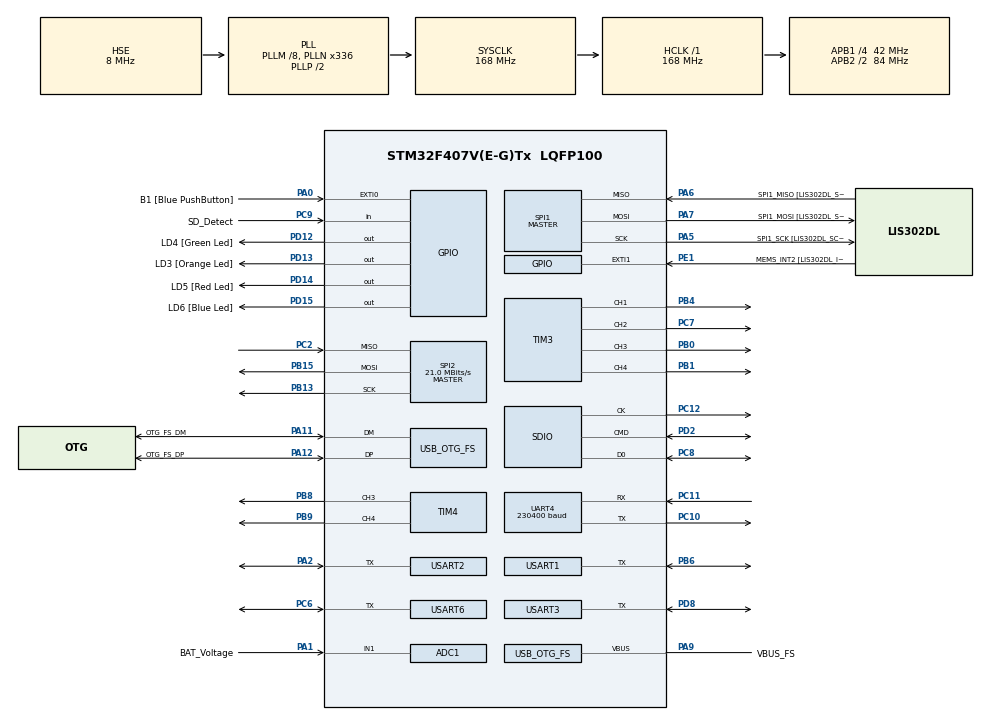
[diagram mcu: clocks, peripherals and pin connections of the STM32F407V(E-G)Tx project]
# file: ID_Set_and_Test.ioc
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ADC1.Channel-2\#ChannelRegularConversion=ADC_CHANNEL_1
ADC1.EOCSelection=ADC_EOC_SEQ_CONV
ADC1.EnableAnalogWatchDog=false
ADC1.NbrOfConversion=1
ADC1.NbrOfConversionFlag=1
ADC1.Rank-2\#ChannelRegularConversion=1
ADC1.SamplingTime-2\#ChannelRegularConversion=ADC_SAMPLETIME_15CYCLES
ADC1.ScanConvMode=DISABLE
ADC1.master=1
Dma.ADC1.0.Direction=DMA_PERIPH_TO_MEMORY
Dma.ADC1.0.FIFOMode=DMA_FIFOMODE_DISABLE
Dma.ADC1.0.Instance=DMA2_Stream0
Dma.ADC1.0.MemDataAlignment=DMA_MDATAALIGN_WORD
Dma.ADC1.0.MemInc=DMA_MINC_ENABLE
Dma.ADC1.0.Mode=DMA_NORMAL
Dma.ADC1.0.PeriphDataAlignment=DMA_PDATAALIGN_WORD
Dma.ADC1.0.PeriphInc=DMA_PINC_DISABLE
Dma.ADC1.0.Priority=DMA_PRIORITY_LOW
Dma.Request0=ADC1
Dma.Request1=USART1_TX
Dma.Request2=USART2_TX
Dma.Request3=USART3_TX
Dma.Request4=USART6_TX
Dma.USART1_TX.1.Direction=DMA_MEMORY_TO_PERIPH
Dma.USART1_TX.1.FIFOMode=DMA_FIFOMODE_DISABLE
Dma.USART1_TX.1.Instance=DMA2_Stream7
Dma.USART1_TX.1.MemDataAlignment=DMA_MDATAALIGN_BYTE
Dma.USART1_TX.1.MemInc=DMA_MINC_ENABLE
Dma.USART1_TX.1.Mode=DMA_NORMAL
Dma.USART1_TX.1.PeriphDataAlignment=DMA_PDATAALIGN_BYTE
Dma.USART1_TX.1.PeriphInc=DMA_PINC_DISABLE
Dma.USART1_TX.1.Priority=DMA_PRIORITY_LOW
Dma.USART2_TX.2.Direction=DMA_MEMORY_TO_PERIPH
Dma.USART2_TX.2.FIFOMode=DMA_FIFOMODE_DISABLE
Dma.USART2_TX.2.Instance=DMA1_Stream6
Dma.USART2_TX.2.MemDataAlignment=DMA_MDATAALIGN_BYTE
Dma.USART2_TX.2.MemInc=DMA_MINC_ENABLE
Dma.USART2_TX.2.Mode=DMA_NORMAL
Dma.USART2_TX.2.PeriphDataAlignment=DMA_PDATAALIGN_BYTE
Dma.USART2_TX.2.PeriphInc=DMA_PINC_DISABLE
Dma.USART2_TX.2.Priority=DMA_PRIORITY_LOW
Dma.USART3_TX.3.Direction=DMA_MEMORY_TO_PERIPH
Dma.USART3_TX.3.FIFOMode=DMA_FIFOMODE_DISABLE
Dma.USART3_TX.3.Instance=DMA1_Stream3
Dma.USART3_TX.3.MemDataAlignment=DMA_MDATAALIGN_BYTE
Dma.USART3_TX.3.MemInc=DMA_MINC_ENABLE
Dma.USART3_TX.3.Mode=DMA_NORMAL
Dma.USART3_TX.3.PeriphDataAlignment=DMA_PDATAALIGN_BYTE
Dma.USART3_TX.3.PeriphInc=DMA_PINC_DISABLE
Dma.USART3_TX.3.Priority=DMA_PRIORITY_LOW
Dma.USART6_TX.4.Direction=DMA_MEMORY_TO_PERIPH
Dma.USART6_TX.4.FIFOMode=DMA_FIFOMODE_DISABLE
Dma.USART6_TX.4.Instance=DMA2_Stream6
Dma.USART6_TX.4.MemDataAlignment=DMA_MDATAALIGN_BYTE
Dma.USART6_TX.4.MemInc=DMA_MINC_ENABLE
Dma.USART6_TX.4.Mode=DMA_NORMAL
Dma.USART6_TX.4.PeriphDataAlignment=DMA_PDATAALIGN_BYTE
Dma.USART6_TX.4.PeriphInc=DMA_PINC_DISABLE
Dma.USART6_TX.4.Priority=DMA_PRIORITY_LOW
Mcu.Family=STM32F4
Mcu.Name=STM32F407V(E-G)Tx
Mcu.Package=LQFP100
NVIC.DMA1_Stream3_IRQn=true\:0\:0\:false\:false\:true\:false\:true\:true
NVIC.DMA1_Stream6_IRQn=true\:0\:0\:false\:false\:true\:false\:true\:true
NVIC.DMA2_Stream0_IRQn=true\:0\:0\:false\:false\:true\:false\:true\:true
NVIC.DMA2_Stream6_IRQn=true\:0\:0\:false\:false\:true\:false\:true\:true
NVIC.DMA2_Stream7_IRQn=true\:0\:0\:false\:false\:true\:false\:true\:true
NVIC.OTG_FS_IRQn=true\:0\:0\:false\:false\:true\:true\:true\:true
NVIC.PriorityGroup=NVIC_PRIORITYGROUP_4
NVIC.UART4_IRQn=true\:0\:0\:false\:false\:true\:true\:true\:true
NVIC.USART1_IRQn=true\:0\:0\:false\:false\:true\:true\:true\:true
NVIC.USART2_IRQn=true\:0\:0\:false\:false\:true\:true\:true\:true
NVIC.USART3_IRQn=true\:0\:0\:false\:false\:true\:true\:true\:true
NVIC.USART6_IRQn=true\:0\:0\:false\:false\:true\:true\:true\:true
PA0-WKUP.GPIO_Label=B1 [Blue PushButton]
PA0-WKUP.GPIO_ModeDefaultEXTI=GPIO_MODE_EVT_RISING
PA0-WKUP.GPIO_PuPd=GPIO_NOPULL
PA0-WKUP.Signal=GPXTI0
PA1.GPIO_Label=BAT_Voltage
PA1.Signal=SharedAnalog_PA1
PA10.GPIO_Label=OTG_FS_ID
PA10.GPIO_Mode=GPIO_MODE_AF_PP
PA10.GPIO_PuPd=GPIO_NOPULL
PA10.GPIO_Speed=GPIO_SPEED_FREQ_LOW
PA10.Signal=USB_OTG_FS_ID
PA11.GPIO_Label=OTG_FS_DM
PA11.GPIO_Mode=GPIO_MODE_AF_PP
PA11.GPIO_PuPd=GPIO_NOPULL
PA11.GPIO_Speed=GPIO_SPEED_FREQ_LOW
PA11.Mode=Device_Only
PA11.Signal=USB_OTG_FS_DM
PA12.GPIO_Label=OTG_FS_DP
PA12.GPIO_Mode=GPIO_MODE_AF_PP
PA12.GPIO_PuPd=GPIO_NOPULL
PA12.GPIO_Speed=GPIO_SPEED_FREQ_LOW
PA12.Mode=Device_Only
PA12.Signal=USB_OTG_FS_DP
PA13.GPIO_Label=SWDIO
PA13.Mode=Serial_Wire
PA13.Signal=SYS_JTMS-SWDIO
PA14.GPIO_Label=SWCLK
PA14.Mode=Serial_Wire
PA14.Signal=SYS_JTCK-SWCLK
PA2.GPIO_PuPd=GPIO_PULLUP
PA2.Mode=Half_duplex(single_wire_mode)
PA2.Signal=USART2_TX
PA5.GPIO_Label=SPI1_SCK [LIS302DL_SCL/SPC]
PA5.GPIO_Mode=GPIO_MODE_AF_PP
PA5.GPIO_PuPd=GPIO_NOPULL
PA5.GPIO_Speed=GPIO_SPEED_FREQ_LOW
PA5.Mode=Full_Duplex_Master
PA5.Signal=SPI1_SCK
PA6.GPIO_Label=SPI1_MISO [LIS302DL_SDO]
PA6.GPIO_Mode=GPIO_MODE_AF_PP
PA6.GPIO_PuPd=GPIO_NOPULL
PA6.GPIO_Speed=GPIO_SPEED_FREQ_LOW
PA6.Mode=Full_Duplex_Master
PA6.Signal=SPI1_MISO
PA7.GPIO_Label=SPI1_MOSI [LIS302DL_SDA/SDI/SDO]
PA7.GPIO_Mode=GPIO_MODE_AF_PP
PA7.GPIO_PuPd=GPIO_NOPULL
PA7.GPIO_Speed=GPIO_SPEED_FREQ_LOW
PA7.Mode=Full_Duplex_Master
PA7.Signal=SPI1_MOSI
PA9.GPIO_Label=VBUS_FS
PA9.GPIO_Mode=GPIO_MODE_INPUT
PA9.GPIO_PuPd=GPIO_NOPULL
PA9.Mode=Activate_VBUS
PA9.Signal=USB_OTG_FS_VBUS
PB0.Signal=S_TIM3_CH3
PB1.Signal=S_TIM3_CH4
PB10.GPIO_Label=CLK_IN [MP45DT02_CLK]
PB10.GPIO_Mode=GPIO_MODE_AF_PP
PB10.GPIO_PuPd=GPIO_NOPULL
PB10.GPIO_Speed=GPIO_SPEED_FREQ_LOW
PB10.Signal=I2S2_CK
PB13.Mode=Full_Duplex_Master
PB13.Signal=SPI2_SCK
PB15.Mode=Full_Duplex_Master
PB15.Signal=SPI2_MOSI
PB3.GPIO_Label=SWO
PB3.Signal=SYS_JTDO-SWO
PB4.Signal=S_TIM3_CH1
PB6.GPIO_PuPd=GPIO_PULLUP
PB6.Mode=Half_duplex(single_wire_mode)
PB6.Signal=USART1_TX
PB8.Signal=S_TIM4_CH3
PB9.Signal=S_TIM4_CH4
PC10.Mode=Asynchronous
PC10.Signal=UART4_TX
PC11.Mode=Asynchronous
PC11.Signal=UART4_RX
PC12.Mode=SD_1_bit
PC12.Signal=SDIO_CK
PC14-OSC32_IN.GPIO_Label=PC14-OSC32_IN
PC14-OSC32_IN.Mode=LSE-External-Oscillator
PC14-OSC32_IN.Signal=RCC_OSC32_IN
PC15-OSC32_OUT.GPIO_Label=PC15-OSC32_OUT
PC15-OSC32_OUT.Mode=LSE-External-Oscillator
PC15-OSC32_OUT.Signal=RCC_OSC32_OUT
PC2.Mode=Full_Duplex_Master
PC2.Signal=SPI2_MISO
PC3.GPIO_Label=PDM_OUT [MP45DT02_DOUT]
PC3.GPIO_Mode=GPIO_MODE_AF_PP
PC3.GPIO_PuPd=GPIO_NOPULL
PC3.GPIO_Speed=GPIO_SPEED_FREQ_LOW
PC3.Signal=I2S2_SD
PC6.GPIO_PuPd=GPIO_PULLUP
PC6.Mode=Half_duplex(single_wire_mode)
PC6.Signal=USART6_TX
PC7.Signal=S_TIM3_CH2
PC8.Mode=SD_1_bit
PC8.Signal=SDIO_D0
PC9.GPIO_Label=SD_Detect
PC9.GPIO_PuPd=GPIO_PULLDOWN
PC9.Signal=GPIO_Input
PD12.GPIO_Label=LD4 [Green Led]
PD12.GPIO_PuPd=GPIO_NOPULL
PD12.GPIO_Speed=GPIO_SPEED_FREQ_LOW
PD12.Signal=GPIO_Output
PD13.GPIO_Label=LD3 [Orange Led]
PD13.Signal=GPIO_Output
PD14.GPIO_Label=LD5 [Red Led]
PD14.GPIO_PuPd=GPIO_NOPULL
PD14.GPIO_Speed=GPIO_SPEED_FREQ_LOW
PD14.Signal=GPIO_Output
PD15.GPIO_Label=LD6 [Blue Led]
PD15.GPIO_PuPd=GPIO_NOPULL
PD15.GPIO_Speed=GPIO_SPEED_FREQ_LOW
PD15.Signal=GPIO_Output
PD2.Mode=SD_1_bit
PD2.Signal=SDIO_CMD
PD8.GPIO_PuPd=GPIO_PULLUP
PD8.Mode=Half_duplex(single_wire_mode)
PD8.Signal=USART3_TX
PE1.GPIO_Label=MEMS_INT2 [LIS302DL_INT2]
PE1.GPIO_ModeDefaultEXTI=GPIO_MODE_EVT_RISING
PE1.GPIO_PuPd=GPIO_NOPULL
PE1.Signal=GPXTI1
PH0-OSC_IN.GPIO_Label=PH0-OSC_IN
PH0-OSC_IN.Mode=HSE-External-Oscillator
PH0-OSC_IN.Signal=RCC_OSC_IN
PH1-OSC_OUT.GPIO_Label=PH1-OSC_OUT
PH1-OSC_OUT.Mode=HSE-External-Oscillator
PH1-OSC_OUT.Signal=RCC_OSC_OUT
ProjectManager.HeapSize=0x200
ProjectManager.StackSize=0x400
ProjectManager.TargetToolchain=STM32CubeIDE
RCC.48MHZClocksFreq_Value=48000000
RCC.AHBFreq_Value=168000000
RCC.APB1CLKDivider=RCC_HCLK_DIV4
RCC.APB1Freq_Value=42000000
RCC.APB1TimFreq_Value=84000000
RCC.APB2CLKDivider=RCC_HCLK_DIV2
RCC.APB2Freq_Value=84000000
RCC.APB2TimFreq_Value=168000000
RCC.CortexFreq_Value=168000000
RCC.HCLKFreq_Value=168000000
RCC.HSE_VALUE=8000000
RCC.HSI_VALUE=16000000
RCC.PLLM=8
RCC.PLLN=336
RCC.PLLQ=7
RCC.SYSCLKFreq_VALUE=168000000
RCC.SYSCLKSource=RCC_SYSCLKSOURCE_PLLCLK
RCC.VCOOutputFreq_Value=336000000
SH.S_TIM3_CH1.0=TIM3_CH1,PWM Generation1 CH1
SH.S_TIM3_CH2.0=TIM3_CH2,PWM Generation2 CH2
SH.S_TIM3_CH3.0=TIM3_CH3,PWM Generation3 CH3
SH.S_TIM3_CH4.0=TIM3_CH4,PWM Generation4 CH4
SH.S_TIM4_CH3.0=TIM4_CH3,PWM Generation3 CH3
SH.S_TIM4_CH4.0=TIM4_CH4,PWM Generation4 CH4
SH.SharedAnalog_PA1.0=GPIO_Analog
SH.SharedAnalog_PA1.1=ADC1_IN1,IN1
SPI1.BaudRatePrescaler-Full_Duplex_Master=SPI_BAUDRATEPRESCALER_2
SPI1.CalculateBaudRate-Full_Duplex_Master=42.0 MBits/s
SPI1.Direction=SPI_DIRECTION_2LINES
SPI1.Mode=SPI_MODE_MASTER
SPI1.Mode-Full_Duplex_Master=SPI_MODE_MASTER
SPI1.VirtualType=VM_MASTER
SPI2.CalculateBaudRate=21.0 MBits/s
SPI2.Direction=SPI_DIRECTION_2LINES
SPI2.Mode=SPI_MODE_MASTER
SPI2.VirtualType=VM_MASTER
TIM3.Channel-PWM\ Generation1\ CH1=TIM_CHANNEL_1
TIM3.Channel-PWM\ Generation2\ CH2=TIM_CHANNEL_2
TIM3.Channel-PWM\ Generation3\ CH3=TIM_CHANNEL_3
TIM3.Channel-PWM\ Generation4\ CH4=TIM_CHANNEL_4
TIM4.Channel-PWM\ Generation3\ CH3=TIM_CHANNEL_3
TIM4.Channel-PWM\ Generation4\ CH4=TIM_CHANNEL_4
UART4.BaudRate=230400
UART4.VirtualMode=Asynchronous
USART1.BaudRate=115200
USART1.Parity=PARITY_EVEN
USART1.VirtualMode=VM_ASYNC
USART2.BaudRate=1000000
USART2.VirtualMode=VM_ASYNC
USART3.BaudRate=1000000
USART3.VirtualMode=VM_ASYNC
USART6.BaudRate=1000000
USART6.VirtualMode=VM_ASYNC
USB_DEVICE.CLASS_NAME_FS=CDC
USB_DEVICE.VirtualMode-CDC_FS=Cdc
USB_DEVICE.VirtualModeFS=Cdc_FS
USB_OTG_FS.VirtualMode=Device_Only
VP_ADC1_TempSens_Input.Mode=IN-TempSens
VP_ADC1_Vref_Input.Mode=IN-Vrefint
VP_USB_DEVICE_VS_USB_DEVICE_CDC_FS.Mode=CDC_FS
board=STM32F407G-DISC1

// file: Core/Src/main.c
/* USER CODE BEGIN Header */
/**
  ******************************************************************************
  * @file           : main.c
  * @brief          : Main program body
  ******************************************************************************
  * @attention
  *
  * Copyright (c) 2022 STMicroelectronics.
  * All rights reserved.
  *
  * This software is licensed under terms that can be found in the LICENSE file
  * in the root directory of this software component.
  * If no LICENSE file comes with this software, it is provided AS-IS.
  *
  ******************************************************************************
  */
/* USER CODE END Header */
#include "main.h"
#include "usb_device.h"

 ADC_HandleTypeDef hadc1;
DMA_HandleTypeDef hdma_adc1;

SD_HandleTypeDef hsd;

SPI_HandleTypeDef hspi1;
SPI_HandleTypeDef hspi2;

TIM_HandleTypeDef htim3;
TIM_HandleTypeDef htim4;

UART_HandleTypeDef huart4;
UART_HandleTypeDef huart1;
UART_HandleTypeDef huart2;
UART_HandleTypeDef huart3;
UART_HandleTypeDef huart6;
DMA_HandleTypeDef hdma_usart1_tx;
DMA_HandleTypeDef hdma_usart2_tx;
DMA_HandleTypeDef hdma_usart3_tx;
DMA_HandleTypeDef hdma_usart6_tx;

void SystemClock_Config(void);
static void MX_GPIO_Init(void);
static void MX_SPI1_Init(void);
static void MX_SDIO_SD_Init(void);
static void MX_DMA_Init(void);
static void MX_SPI2_Init(void);
static void MX_TIM3_Init(void);
static void MX_TIM4_Init(void);
static void MX_USART1_UART_Init(void);
static void MX_USART2_UART_Init(void);
static void MX_USART3_UART_Init(void);
static void MX_USART6_UART_Init(void);
static void MX_ADC1_Init(void);
static void MX_UART4_Init(void);

/* USER CODE BEGIN 0 */
	uint8_t uartBuf[64];
	uint8_t paramArray[2];  // contem os parametros de setar id
	uint8_t paramArray2[5];  // parametros da primeira posiçao
	uint8_t paramArray3[5];  // parametros da segunda posiçao
	uint8_t motorId = 0xFE;  // ID de broadcast
	uint8_t novoId = 0x00;	 //novo ID (se mudar tem q mudar o uartbuf2 do sendInstruction)
	uint8_t paramArray[2];  // array com os parametros de set id
	uint16_t pos1 = 1000;
	uint16_t pos2 = 500;
	uint16_t spd = 500;

  void sendInstruction(uint8_t instruction, uint8_t* paramArray, uint8_t numParams){
	  //while(huartptr->gState != HAL_UART_STATE_READY);	//Tem que implementar timeout
	  uartBuf[0] = 0xFF;				//Header
	  uartBuf[1] = 0xFF;				//Header
	  uartBuf[2] = motorId;				//ID
	  uartBuf[3] = numParams + 2;		//Length
	  uartBuf[4] = instruction;			//Instruction
	  uint8_t i;
	  uint8_t somaParams = 0;
	  for(i=0; i<numParams; i++){
		  uartBuf[i+5] = paramArray[i];	//Parameters
		  somaParams += paramArray[i];
	  }
	  uartBuf[i+5] = ~(motorId + numParams + 2 + instruction + somaParams);	//Checksum
	  HAL_UART_Transmit(&huart1, (uint8_t *)uartBuf, numParams + 6, 100);  //tem q ficar mudando a porta aqui
}

/* USER CODE END 0 */

int main(void)
{

  /* MCU Configuration--------------------------------------------------------*/

  /* Reset of all peripherals, Initializes the Flash interface and the Systick. */
  HAL_Init();

  /* USER CODE BEGIN Init */
  HAL_HalfDuplex_EnableTransmitter(&huart1);  // ativa o modo transmissor

  paramArray[0] = 0x03; 		//Starting adress da instruçao de ID
  paramArray[1] = novoId; 	//novo ID (se mudar tem q mudar o uartbuf2 do sendInstruction)

  paramArray2[0] = 30;			//Goal position
  paramArray2[1] = pos1;			//Conferir endianess
  paramArray2[2] = pos1>>8;
  paramArray2[3] = spd;
  paramArray2[4] = spd>>8;

  paramArray3[0] = 30;			//Goal position
  paramArray3[1] = pos2;		//Conferir endianess
  paramArray3[2] = pos2>>8;
  paramArray3[3] = spd;
  paramArray3[4] = spd>>8;
  while(1){
  sendInstruction(0x03, paramArray2, 5);
  	  HAL_Delay(2000);
  	  sendInstruction(0x03, paramArray3, 5);
  	  HAL_Delay(2000);
  }
  /* USER CODE END Init */

  /* Configure the system clock */
  SystemClock_Config();

  /* Initialize all configured peripherals */
  MX_GPIO_Init();
  MX_SPI1_Init();
  MX_USB_DEVICE_Init();
  MX_SDIO_SD_Init();
  MX_DMA_Init();
  MX_SPI2_Init();
  MX_TIM3_Init();
  MX_TIM4_Init();
  MX_USART1_UART_Init();
  MX_USART2_UART_Init();
  MX_USART3_UART_Init();
  MX_USART6_UART_Init();
  MX_ADC1_Init();
  MX_UART4_Init();
  /* USER CODE BEGIN 2 */
  sendInstruction(0x03, paramArray, 2);  // set ID
  /* USER CODE END 2 */

  /* Infinite loop */
  while (1)
  {

  }
}

void SystemClock_Config(void)
{
  RCC_OscInitTypeDef RCC_OscInitStruct = {0};
  RCC_ClkInitTypeDef RCC_ClkInitStruct = {0};

  /** Configure the main internal regulator output voltage
  */
  __HAL_RCC_PWR_CLK_ENABLE();
  __HAL_PWR_VOLTAGESCALING_CONFIG(PWR_REGULATOR_VOLTAGE_SCALE1);

  /** Initializes the RCC Oscillators according to the specified parameters
  * in the RCC_OscInitTypeDef structure.
  */
  RCC_OscInitStruct.OscillatorType = RCC_OSCILLATORTYPE_HSE;
  RCC_OscInitStruct.HSEState = RCC_HSE_ON;
  RCC_OscInitStruct.PLL.PLLState = RCC_PLL_ON;
  RCC_OscInitStruct.PLL.PLLSource = RCC_PLLSOURCE_HSE;
  RCC_OscInitStruct.PLL.PLLM = 8;
  RCC_OscInitStruct.PLL.PLLN = 336;
  RCC_OscInitStruct.PLL.PLLP = RCC_PLLP_DIV2;
  RCC_OscInitStruct.PLL.PLLQ = 7;
  if (HAL_RCC_OscConfig(&RCC_OscInitStruct) != HAL_OK)
  {
    Error_Handler();
  }

  /** Initializes the CPU, AHB and APB buses clocks
  */
  RCC_ClkInitStruct.ClockType = RCC_CLOCKTYPE_HCLK|RCC_CLOCKTYPE_SYSCLK
                              |RCC_CLOCKTYPE_PCLK1|RCC_CLOCKTYPE_PCLK2;
  RCC_ClkInitStruct.SYSCLKSource = RCC_SYSCLKSOURCE_PLLCLK;
  RCC_ClkInitStruct.AHBCLKDivider = RCC_SYSCLK_DIV1;
  RCC_ClkInitStruct.APB1CLKDivider = RCC_HCLK_DIV4;
  RCC_ClkInitStruct.APB2CLKDivider = RCC_HCLK_DIV2;

  if (HAL_RCC_ClockConfig(&RCC_ClkInitStruct, FLASH_LATENCY_5) != HAL_OK)
  {
    Error_Handler();
  }
}

static void MX_ADC1_Init(void)
{

  ADC_ChannelConfTypeDef sConfig = {0};

  /** Configure the global features of the ADC (Clock, Resolution, Data Alignment and number of conversion)
  */
  hadc1.Instance = ADC1;
  hadc1.Init.ClockPrescaler = ADC_CLOCK_SYNC_PCLK_DIV4;
  hadc1.Init.Resolution = ADC_RESOLUTION_12B;
  hadc1.Init.ScanConvMode = DISABLE;
  hadc1.Init.ContinuousConvMode = DISABLE;
  hadc1.Init.DiscontinuousConvMode = DISABLE;
  hadc1.Init.ExternalTrigConvEdge = ADC_EXTERNALTRIGCONVEDGE_NONE;
  hadc1.Init.ExternalTrigConv = ADC_SOFTWARE_START;
  hadc1.Init.DataAlign = ADC_DATAALIGN_RIGHT;
  hadc1.Init.NbrOfConversion = 1;
  hadc1.Init.DMAContinuousRequests = DISABLE;
  hadc1.Init.EOCSelection = ADC_EOC_SEQ_CONV;
  if (HAL_ADC_Init(&hadc1) != HAL_OK)
  {
    Error_Handler();
  }

  /** Configure for the selected ADC regular channel its corresponding rank in the sequencer and its sample time.
  */
  sConfig.Channel = ADC_CHANNEL_1;
  sConfig.Rank = 1;
  sConfig.SamplingTime = ADC_SAMPLETIME_15CYCLES;
  if (HAL_ADC_ConfigChannel(&hadc1, &sConfig) != HAL_OK)
  {
    Error_Handler();
  }

}

static void MX_SDIO_SD_Init(void)
{

  hsd.Instance = SDIO;
  hsd.Init.ClockEdge = SDIO_CLOCK_EDGE_RISING;
  hsd.Init.ClockBypass = SDIO_CLOCK_BYPASS_DISABLE;
  hsd.Init.ClockPowerSave = SDIO_CLOCK_POWER_SAVE_DISABLE;
  hsd.Init.BusWide = SDIO_BUS_WIDE_1B;
  hsd.Init.HardwareFlowControl = SDIO_HARDWARE_FLOW_CONTROL_DISABLE;
  hsd.Init.ClockDiv = 0;
  if (HAL_SD_Init(&hsd) != HAL_OK)
  {
    Error_Handler();
  }

}

static void MX_SPI1_Init(void)
{

  /* SPI1 parameter configuration*/
  hspi1.Instance = SPI1;
  hspi1.Init.Mode = SPI_MODE_MASTER;
  hspi1.Init.Direction = SPI_DIRECTION_2LINES;
  hspi1.Init.DataSize = SPI_DATASIZE_8BIT;
  hspi1.Init.CLKPolarity = SPI_POLARITY_LOW;
  hspi1.Init.CLKPhase = SPI_PHASE_1EDGE;
  hspi1.Init.NSS = SPI_NSS_SOFT;
  hspi1.Init.BaudRatePrescaler = SPI_BAUDRATEPRESCALER_2;
  hspi1.Init.FirstBit = SPI_FIRSTBIT_MSB;
  hspi1.Init.TIMode = SPI_TIMODE_DISABLE;
  hspi1.Init.CRCCalculation = SPI_CRCCALCULATION_DISABLE;
  hspi1.Init.CRCPolynomial = 10;
  if (HAL_SPI_Init(&hspi1) != HAL_OK)
  {
    Error_Handler();
  }

}

static void MX_SPI2_Init(void)
{

  /* SPI2 parameter configuration*/
  hspi2.Instance = SPI2;
  hspi2.Init.Mode = SPI_MODE_MASTER;
  hspi2.Init.Direction = SPI_DIRECTION_2LINES;
  hspi2.Init.DataSize = SPI_DATASIZE_8BIT;
  hspi2.Init.CLKPolarity = SPI_POLARITY_LOW;
  hspi2.Init.CLKPhase = SPI_PHASE_1EDGE;
  hspi2.Init.NSS = SPI_NSS_SOFT;
  hspi2.Init.BaudRatePrescaler = SPI_BAUDRATEPRESCALER_2;
  hspi2.Init.FirstBit = SPI_FIRSTBIT_MSB;
  hspi2.Init.TIMode = SPI_TIMODE_DISABLE;
  hspi2.Init.CRCCalculation = SPI_CRCCALCULATION_DISABLE;
  hspi2.Init.CRCPolynomial = 10;
  if (HAL_SPI_Init(&hspi2) != HAL_OK)
  {
    Error_Handler();
  }

}

static void MX_TIM3_Init(void)
{

  TIM_MasterConfigTypeDef sMasterConfig = {0};
  TIM_OC_InitTypeDef sConfigOC = {0};

  htim3.Instance = TIM3;
  htim3.Init.Prescaler = 0;
  htim3.Init.CounterMode = TIM_COUNTERMODE_UP;
  htim3.Init.Period = 65535;
  htim3.Init.ClockDivision = TIM_CLOCKDIVISION_DIV1;
  htim3.Init.AutoReloadPreload = TIM_AUTORELOAD_PRELOAD_DISABLE;
  if (HAL_TIM_PWM_Init(&htim3) != HAL_OK)
  {
    Error_Handler();
  }
  sMasterConfig.MasterOutputTrigger = TIM_TRGO_RESET;
  sMasterConfig.MasterSlaveMode = TIM_MASTERSLAVEMODE_DISABLE;
  if (HAL_TIMEx_MasterConfigSynchronization(&htim3, &sMasterConfig) != HAL_OK)
  {
    Error_Handler();
  }
  sConfigOC.OCMode = TIM_OCMODE_PWM1;
  sConfigOC.Pulse = 0;
  sConfigOC.OCPolarity = TIM_OCPOLARITY_HIGH;
  sConfigOC.OCFastMode = TIM_OCFAST_DISABLE;
  if (HAL_TIM_PWM_ConfigChannel(&htim3, &sConfigOC, TIM_CHANNEL_1) != HAL_OK)
  {
    Error_Handler();
  }
  if (HAL_TIM_PWM_ConfigChannel(&htim3, &sConfigOC, TIM_CHANNEL_2) != HAL_OK)
  {
    Error_Handler();
  }
  if (HAL_TIM_PWM_ConfigChannel(&htim3, &sConfigOC, TIM_CHANNEL_3) != HAL_OK)
  {
    Error_Handler();
  }
  if (HAL_TIM_PWM_ConfigChannel(&htim3, &sConfigOC, TIM_CHANNEL_4) != HAL_OK)
  {
    Error_Handler();
  }
  HAL_TIM_MspPostInit(&htim3);

}

static void MX_TIM4_Init(void)
{

  TIM_MasterConfigTypeDef sMasterConfig = {0};
  TIM_OC_InitTypeDef sConfigOC = {0};

  htim4.Instance = TIM4;
  htim4.Init.Prescaler = 0;
  htim4.Init.CounterMode = TIM_COUNTERMODE_UP;
  htim4.Init.Period = 65535;
  htim4.Init.ClockDivision = TIM_CLOCKDIVISION_DIV1;
  htim4.Init.AutoReloadPreload = TIM_AUTORELOAD_PRELOAD_DISABLE;
  if (HAL_TIM_PWM_Init(&htim4) != HAL_OK)
  {
    Error_Handler();
  }
  sMasterConfig.MasterOutputTrigger = TIM_TRGO_RESET;
  sMasterConfig.MasterSlaveMode = TIM_MASTERSLAVEMODE_DISABLE;
  if (HAL_TIMEx_MasterConfigSynchronization(&htim4, &sMasterConfig) != HAL_OK)
  {
    Error_Handler();
  }
  sConfigOC.OCMode = TIM_OCMODE_PWM1;
  sConfigOC.Pulse = 0;
  sConfigOC.OCPolarity = TIM_OCPOLARITY_HIGH;
  sConfigOC.OCFastMode = TIM_OCFAST_DISABLE;
  if (HAL_TIM_PWM_ConfigChannel(&htim4, &sConfigOC, TIM_CHANNEL_3) != HAL_OK)
  {
    Error_Handler();
  }
  if (HAL_TIM_PWM_ConfigChannel(&htim4, &sConfigOC, TIM_CHANNEL_4) != HAL_OK)
  {
    Error_Handler();
  }
  HAL_TIM_MspPostInit(&htim4);

}

static void MX_UART4_Init(void)
{

  huart4.Instance = UART4;
  huart4.Init.BaudRate = 230400;
  huart4.Init.WordLength = UART_WORDLENGTH_8B;
  huart4.Init.StopBits = UART_STOPBITS_1;
  huart4.Init.Parity = UART_PARITY_NONE;
  huart4.Init.Mode = UART_MODE_TX_RX;
  huart4.Init.HwFlowCtl = UART_HWCONTROL_NONE;
  huart4.Init.OverSampling = UART_OVERSAMPLING_16;
  if (HAL_UART_Init(&huart4) != HAL_OK)
  {
    Error_Handler();
  }

}

static void MX_USART1_UART_Init(void)
{

  huart1.Instance = USART1;
  huart1.Init.BaudRate = 115200;
  huart1.Init.WordLength = UART_WORDLENGTH_8B;
  huart1.Init.StopBits = UART_STOPBITS_1;
  huart1.Init.Parity = UART_PARITY_EVEN;
  huart1.Init.Mode = UART_MODE_TX_RX;
  huart1.Init.HwFlowCtl = UART_HWCONTROL_NONE;
  huart1.Init.OverSampling = UART_OVERSAMPLING_16;
  if (HAL_HalfDuplex_Init(&huart1) != HAL_OK)
  {
    Error_Handler();
  }

}

static void MX_USART2_UART_Init(void)
{

  huart2.Instance = USART2;
  huart2.Init.BaudRate = 1000000;
  huart2.Init.WordLength = UART_WORDLENGTH_8B;
  huart2.Init.StopBits = UART_STOPBITS_1;
  huart2.Init.Parity = UART_PARITY_NONE;
  huart2.Init.Mode = UART_MODE_TX_RX;
  huart2.Init.HwFlowCtl = UART_HWCONTROL_NONE;
  huart2.Init.OverSampling = UART_OVERSAMPLING_16;
  if (HAL_HalfDuplex_Init(&huart2) != HAL_OK)
  {
    Error_Handler();
  }

}

static void MX_USART3_UART_Init(void)
{

  huart3.Instance = USART3;
  huart3.Init.BaudRate = 1000000;
  huart3.Init.WordLength = UART_WORDLENGTH_8B;
  huart3.Init.StopBits = UART_STOPBITS_1;
  huart3.Init.Parity = UART_PARITY_NONE;
  huart3.Init.Mode = UART_MODE_TX_RX;
  huart3.Init.HwFlowCtl = UART_HWCONTROL_NONE;
  huart3.Init.OverSampling = UART_OVERSAMPLING_16;
  if (HAL_HalfDuplex_Init(&huart3) != HAL_OK)
  {
    Error_Handler();
  }

}

static void MX_USART6_UART_Init(void)
{

  huart6.Instance = USART6;
  huart6.Init.BaudRate = 1000000;
  huart6.Init.WordLength = UART_WORDLENGTH_8B;
  huart6.Init.StopBits = UART_STOPBITS_1;
  huart6.Init.Parity = UART_PARITY_NONE;
  huart6.Init.Mode = UART_MODE_TX_RX;
  huart6.Init.HwFlowCtl = UART_HWCONTROL_NONE;
  huart6.Init.OverSampling = UART_OVERSAMPLING_16;
  if (HAL_HalfDuplex_Init(&huart6) != HAL_OK)
  {
    Error_Handler();
  }

}

static void MX_DMA_Init(void)
{

  /* DMA controller clock enable */
  __HAL_RCC_DMA2_CLK_ENABLE();
  __HAL_RCC_DMA1_CLK_ENABLE();

  /* DMA interrupt init */
  /* DMA1_Stream3_IRQn interrupt configuration */
  HAL_NVIC_SetPriority(DMA1_Stream3_IRQn, 0, 0);
  HAL_NVIC_EnableIRQ(DMA1_Stream3_IRQn);
  /* DMA1_Stream6_IRQn interrupt configuration */
  HAL_NVIC_SetPriority(DMA1_Stream6_IRQn, 0, 0);
  HAL_NVIC_EnableIRQ(DMA1_Stream6_IRQn);
  /* DMA2_Stream0_IRQn interrupt configuration */
  HAL_NVIC_SetPriority(DMA2_Stream0_IRQn, 0, 0);
  HAL_NVIC_EnableIRQ(DMA2_Stream0_IRQn);
  /* DMA2_Stream6_IRQn interrupt configuration */
  HAL_NVIC_SetPriority(DMA2_Stream6_IRQn, 0, 0);
  HAL_NVIC_EnableIRQ(DMA2_Stream6_IRQn);
  /* DMA2_Stream7_IRQn interrupt configuration */
  HAL_NVIC_SetPriority(DMA2_Stream7_IRQn, 0, 0);
  HAL_NVIC_EnableIRQ(DMA2_Stream7_IRQn);

}

static void MX_GPIO_Init(void)
{
  GPIO_InitTypeDef GPIO_InitStruct = {0};

  /* GPIO Ports Clock Enable */
  __HAL_RCC_GPIOC_CLK_ENABLE();
  __HAL_RCC_GPIOH_CLK_ENABLE();
  __HAL_RCC_GPIOA_CLK_ENABLE();
  __HAL_RCC_GPIOB_CLK_ENABLE();
  __HAL_RCC_GPIOD_CLK_ENABLE();
  __HAL_RCC_GPIOE_CLK_ENABLE();

  /*Configure GPIO pin Output Level */
  HAL_GPIO_WritePin(GPIOD, LD4_Pin|LD3_Pin|LD5_Pin|LD6_Pin, GPIO_PIN_RESET);

  /*Configure GPIO pin : PDM_OUT_Pin */
  GPIO_InitStruct.Pin = PDM_OUT_Pin;
  GPIO_InitStruct.Mode = GPIO_MODE_AF_PP;
  GPIO_InitStruct.Pull = GPIO_NOPULL;
  GPIO_InitStruct.Speed = GPIO_SPEED_FREQ_LOW;
  GPIO_InitStruct.Alternate = GPIO_AF5_SPI2;
  HAL_GPIO_Init(PDM_OUT_GPIO_Port, &GPIO_InitStruct);

  /*Configure GPIO pin : B1_Pin */
  GPIO_InitStruct.Pin = B1_Pin;
  GPIO_InitStruct.Mode = GPIO_MODE_EVT_RISING;
  GPIO_InitStruct.Pull = GPIO_NOPULL;
  HAL_GPIO_Init(B1_GPIO_Port, &GPIO_InitStruct);

  /*Configure GPIO pin : CLK_IN_Pin */
  GPIO_InitStruct.Pin = CLK_IN_Pin;
  GPIO_InitStruct.Mode = GPIO_MODE_AF_PP;
  GPIO_InitStruct.Pull = GPIO_NOPULL;
  GPIO_InitStruct.Speed = GPIO_SPEED_FREQ_LOW;
  GPIO_InitStruct.Alternate = GPIO_AF5_SPI2;
  HAL_GPIO_Init(CLK_IN_GPIO_Port, &GPIO_InitStruct);

  /*Configure GPIO pins : LD4_Pin LD3_Pin LD5_Pin LD6_Pin */
  GPIO_InitStruct.Pin = LD4_Pin|LD3_Pin|LD5_Pin|LD6_Pin;
  GPIO_InitStruct.Mode = GPIO_MODE_OUTPUT_PP;
  GPIO_InitStruct.Pull = GPIO_NOPULL;
  GPIO_InitStruct.Speed = GPIO_SPEED_FREQ_LOW;
  HAL_GPIO_Init(GPIOD, &GPIO_InitStruct);

  /*Configure GPIO pin : SD_Detect_Pin */
  GPIO_InitStruct.Pin = SD_Detect_Pin;
  GPIO_InitStruct.Mode = GPIO_MODE_INPUT;
  GPIO_InitStruct.Pull = GPIO_PULLDOWN;
  HAL_GPIO_Init(SD_Detect_GPIO_Port, &GPIO_InitStruct);

  /*Configure GPIO pin : MEMS_INT2_Pin */
  GPIO_InitStruct.Pin = MEMS_INT2_Pin;
  GPIO_InitStruct.Mode = GPIO_MODE_EVT_RISING;
  GPIO_InitStruct.Pull = GPIO_NOPULL;
  HAL_GPIO_Init(MEMS_INT2_GPIO_Port, &GPIO_InitStruct);

}

void Error_Handler(void)
{
  __disable_irq();
  while (1)
  {
  }
}
